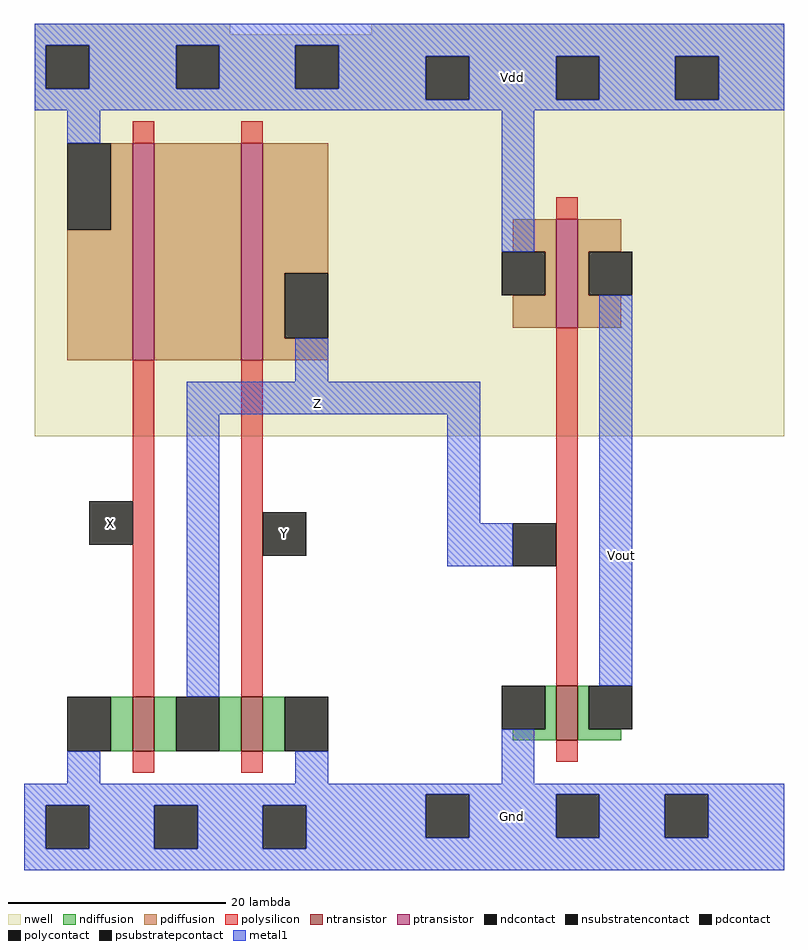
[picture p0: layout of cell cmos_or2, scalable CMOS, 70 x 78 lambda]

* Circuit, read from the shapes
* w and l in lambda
.subckt cmos_or2 Gnd Vdd Vout X Y Z
M1 Z X Gnd Gnd nfet w=5 l=2
M2 Gnd Y Z Gnd nfet w=5 l=2
M3 Vout Z Gnd Gnd nfet w=5 l=2
M4 n1 X Vdd Vdd pfet w=20 l=2
M5 Z Y n1 Vdd pfet w=20 l=2
M6 Vout Z Vdd Vdd pfet w=10 l=2
.ends

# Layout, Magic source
magic
tech scmos
<< nwell >>
rect -31 77 -13 78
rect 0 77 38 78
rect -31 40 38 77
<< polysilicon >>
rect -22 67 -20 69
rect -12 67 -10 69
rect 17 60 19 62
rect -22 16 -20 47
rect -12 16 -10 47
rect 17 17 19 50
rect -22 9 -20 11
rect -12 9 -10 11
rect 17 10 19 12
<< ndiffusion >>
rect -24 11 -22 16
rect -20 11 -18 16
rect -14 11 -12 16
rect -10 11 -8 16
rect 16 13 17 17
rect 13 12 17 13
rect 19 13 20 17
rect 19 12 23 13
<< pdiffusion >>
rect -24 59 -22 67
rect -28 47 -22 59
rect -20 47 -12 67
rect -10 55 -4 67
rect 13 57 17 60
rect -10 49 -8 55
rect 16 53 17 57
rect 13 50 17 53
rect 19 57 23 60
rect 19 53 20 57
rect 19 50 23 53
rect -10 47 -4 49
<< metal1 >>
rect -31 76 38 78
rect -31 72 -30 76
rect -26 72 -18 76
rect -14 72 -7 76
rect -3 75 38 76
rect -3 72 5 75
rect -31 71 5 72
rect 9 71 17 75
rect 21 71 28 75
rect 32 71 38 75
rect -31 70 38 71
rect -28 67 -25 70
rect 12 57 15 70
rect -7 45 -4 49
rect -17 42 10 45
rect -17 16 -14 42
rect 7 32 10 42
rect 7 28 13 32
rect 21 17 24 53
rect -28 8 -25 11
rect -7 8 -4 11
rect 12 8 15 13
rect -32 7 38 8
rect -32 6 5 7
rect -32 2 -30 6
rect -26 2 -20 6
rect -16 2 -10 6
rect -6 3 5 6
rect 9 3 17 7
rect 21 3 27 7
rect 31 3 38 7
rect -6 2 38 3
rect -32 0 38 2
<< ntransistor >>
rect -22 11 -20 16
rect -12 11 -10 16
rect 17 12 19 17
<< ptransistor >>
rect -22 47 -20 67
rect -12 47 -10 67
rect 17 50 19 60
<< polycontact >>
rect -26 30 -22 34
rect -10 29 -6 33
rect 13 28 17 32
<< ndcontact >>
rect -28 11 -24 16
rect -18 11 -14 16
rect -8 11 -4 16
rect 12 13 16 17
rect 20 13 24 17
<< pdcontact >>
rect -28 59 -24 67
rect -8 49 -4 55
rect 12 53 16 57
rect 20 53 24 57
<< psubstratepcontact >>
rect -30 2 -26 6
rect -20 2 -16 6
rect -10 2 -6 6
rect 5 3 9 7
rect 17 3 21 7
rect 27 3 31 7
<< nsubstratencontact >>
rect -30 72 -26 76
rect -18 72 -14 76
rect -7 72 -3 76
rect 5 71 9 75
rect 17 71 21 75
rect 28 71 32 75
<< labels >>
rlabel metal1 13 73 13 73 5 Vdd
rlabel metal1 13 5 13 5 1 Gnd
rlabel metal1 23 29 23 29 1 Vout
rlabel polycontact -24 32 -24 32 1 X
rlabel polycontact -8 31 -8 31 1 Y
rlabel metal1 -5 43 -5 43 1 Z
<< end >>
